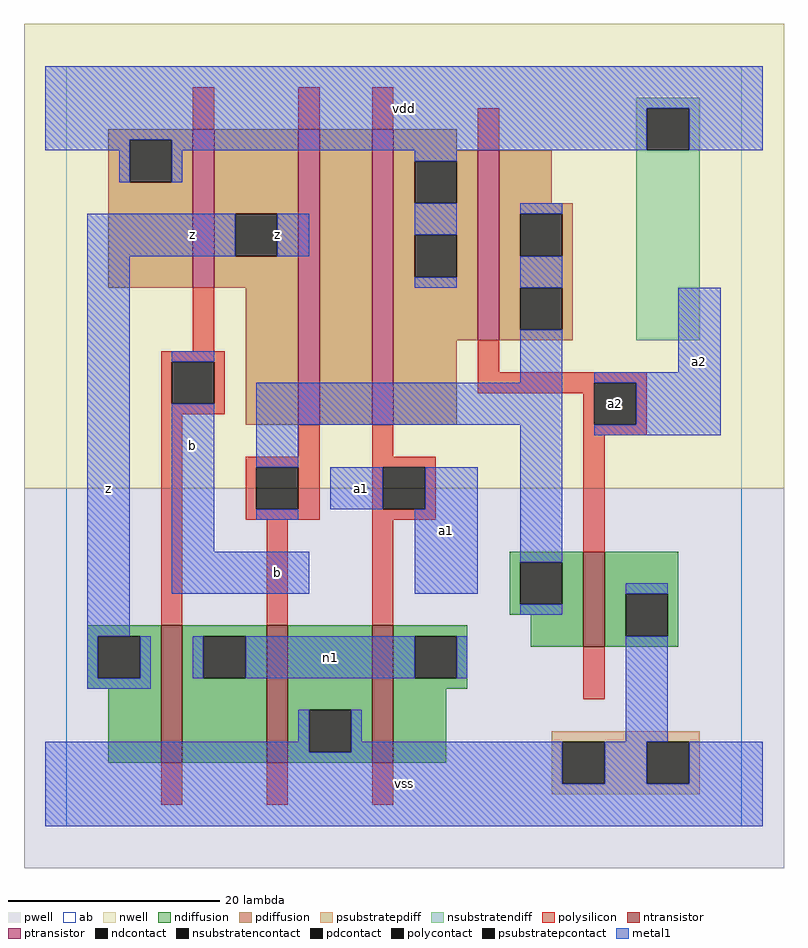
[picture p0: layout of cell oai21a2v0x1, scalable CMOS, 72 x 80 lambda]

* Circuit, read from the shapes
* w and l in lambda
.subckt oai21a2v0x1 a1 a2 b n1 vdd vss z
M1 n1 b z vss nfet w=13 l=2
M2 vss n2 n1 vss nfet w=13 l=2
M3 n1 a1 vss vss nfet w=13 l=2
M4 vss a2 n2 vss nfet w=9 l=2
M5 z b vdd vdd pfet w=15 l=2
M6 n3 n2 z vdd pfet w=28 l=2
M7 vdd a1 n3 vdd pfet w=28 l=2
M8 n2 a2 vdd vdd pfet w=18 l=2
.ends

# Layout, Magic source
magic
tech scmos
<< ab >>
rect 0 0 64 72
<< pwell >>
rect -4 -4 68 32
<< nwell >>
rect -4 32 68 76
<< polysilicon >>
rect 12 66 14 70
rect 22 66 24 70
rect 29 66 31 70
rect 12 45 14 51
rect 9 44 15 45
rect 9 40 10 44
rect 14 40 15 44
rect 9 39 15 40
rect 9 19 11 39
rect 39 64 41 68
rect 39 43 41 46
rect 39 42 55 43
rect 39 41 50 42
rect 49 38 50 41
rect 54 38 55 42
rect 22 35 24 38
rect 17 34 24 35
rect 17 30 18 34
rect 22 30 24 34
rect 17 29 24 30
rect 29 35 31 38
rect 49 37 55 38
rect 29 34 35 35
rect 29 30 30 34
rect 34 30 35 34
rect 29 29 35 30
rect 19 19 21 29
rect 29 19 31 29
rect 49 26 51 37
rect 49 12 51 17
rect 9 2 11 6
rect 19 2 21 6
rect 29 2 31 6
<< ndiffusion >>
rect 42 25 49 26
rect 42 21 43 25
rect 47 21 49 25
rect 42 20 49 21
rect 2 18 9 19
rect 2 14 3 18
rect 7 14 9 18
rect 2 13 9 14
rect 4 6 9 13
rect 11 18 19 19
rect 11 14 13 18
rect 17 14 19 18
rect 11 6 19 14
rect 21 11 29 19
rect 21 7 23 11
rect 27 7 29 11
rect 21 6 29 7
rect 31 18 38 19
rect 31 14 33 18
rect 37 14 38 18
rect 44 17 49 20
rect 51 22 58 26
rect 51 18 53 22
rect 57 18 58 22
rect 51 17 58 18
rect 31 13 38 14
rect 31 6 36 13
<< pdiffusion >>
rect 4 65 12 66
rect 4 61 6 65
rect 10 61 12 65
rect 4 51 12 61
rect 14 58 22 66
rect 14 54 16 58
rect 20 54 22 58
rect 14 51 22 54
rect 17 38 22 51
rect 24 38 29 66
rect 31 64 37 66
rect 31 63 39 64
rect 31 59 33 63
rect 37 59 39 63
rect 31 56 39 59
rect 31 52 33 56
rect 37 52 39 56
rect 31 46 39 52
rect 41 59 46 64
rect 41 58 48 59
rect 41 54 43 58
rect 47 54 48 58
rect 41 51 48 54
rect 41 47 43 51
rect 47 47 48 51
rect 41 46 48 47
rect 31 38 37 46
<< metal1 >>
rect -2 68 66 72
rect -2 65 55 68
rect -2 64 6 65
rect 5 61 6 64
rect 10 64 55 65
rect 59 64 66 68
rect 10 61 11 64
rect 33 63 37 64
rect 2 54 16 58
rect 20 54 23 58
rect 33 56 37 59
rect 2 18 6 54
rect 33 51 37 52
rect 43 58 47 59
rect 43 51 47 54
rect 10 44 14 45
rect 43 42 47 47
rect 58 43 62 51
rect 10 26 14 40
rect 18 38 47 42
rect 18 34 22 38
rect 25 30 30 34
rect 34 30 39 34
rect 18 29 22 30
rect 10 22 23 26
rect 33 22 39 30
rect 43 25 47 38
rect 50 42 62 43
rect 54 38 62 42
rect 50 37 62 38
rect 43 20 47 21
rect 53 22 57 23
rect 2 14 3 18
rect 7 14 8 18
rect 12 14 13 18
rect 17 14 33 18
rect 37 14 38 18
rect 2 13 8 14
rect 22 8 23 11
rect -2 7 23 8
rect 27 8 28 11
rect 53 8 57 18
rect 27 7 47 8
rect -2 4 47 7
rect 51 4 55 8
rect 59 4 66 8
rect -2 0 66 4
<< ntransistor >>
rect 9 6 11 19
rect 19 6 21 19
rect 29 6 31 19
rect 49 17 51 26
<< ptransistor >>
rect 12 51 14 66
rect 22 38 24 66
rect 29 38 31 66
rect 39 46 41 64
<< polycontact >>
rect 10 40 14 44
rect 50 38 54 42
rect 18 30 22 34
rect 30 30 34 34
<< ndcontact >>
rect 43 21 47 25
rect 3 14 7 18
rect 13 14 17 18
rect 23 7 27 11
rect 33 14 37 18
rect 53 18 57 22
<< pdcontact >>
rect 6 61 10 65
rect 16 54 20 58
rect 33 59 37 63
rect 33 52 37 56
rect 43 54 47 58
rect 43 47 47 51
<< psubstratepcontact >>
rect 47 4 51 8
rect 55 4 59 8
<< nsubstratencontact >>
rect 55 64 59 68
<< psubstratepdiff >>
rect 46 8 60 9
rect 46 4 47 8
rect 51 4 55 8
rect 59 4 60 8
rect 46 3 60 4
<< nsubstratendiff >>
rect 54 68 60 69
rect 54 64 55 68
rect 59 64 60 68
rect 54 46 60 64
<< labels >>
rlabel metal1 4 32 4 32 6 z
rlabel metal1 12 36 12 36 6 b
rlabel metal1 12 56 12 56 6 z
rlabel metal1 20 24 20 24 6 b
rlabel metal1 28 32 28 32 6 a1
rlabel metal1 20 56 20 56 6 z
rlabel metal1 32 4 32 4 6 vss
rlabel metal1 25 16 25 16 6 n1
rlabel metal1 36 28 36 28 6 a1
rlabel metal1 32 68 32 68 6 vdd
rlabel polycontact 52 40 52 40 6 a2
rlabel metal1 60 44 60 44 6 a2
<< end >>
